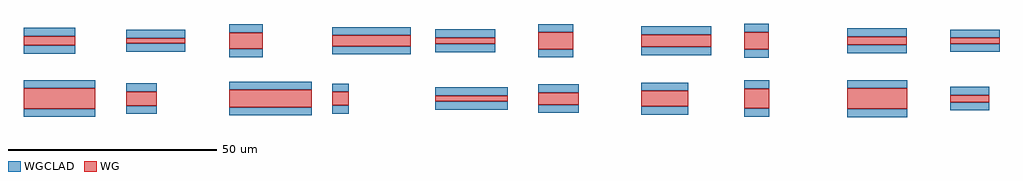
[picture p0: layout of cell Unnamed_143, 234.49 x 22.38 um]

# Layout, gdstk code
import gdstk
lib = gdstk.Library(unit=1e-6, precision=1e-09)
def R(c, l, rs):  # rectangles x0, y0, x1, y1
    for r in rs: c.add(gdstk.rectangle(r[:2], r[2:], *l))
WG = (1, 0)
WGCLAD = (111, 0)

straight_w4012_l8349_lwg = lib.new_cell('straight_W4012_L8349_LWG_EWGSTD')
R(straight_w4012_l8349_lwg, WG, [(0,-2.006,8.349,2.006)])
R(straight_w4012_l8349_lwg, WGCLAD, [(0,-4.006,8.349,-2.006), (0,2.006,8.349,4.006)])

straight_w1470_l14375_lw = lib.new_cell('straight_W1470_L14375_LWG_EWGSTD')
R(straight_w1470_l14375_lw, WG, [(0,-0.735,14.375,0.735)])
R(straight_w1470_l14375_lw, WGCLAD, [(0,-2.735,14.375,-0.735), (0,0.735,14.375,2.735)])

straight_w2598_l18771_lw = lib.new_cell('straight_W2598_L18771_LWG_EWGSTD')
R(straight_w2598_l18771_lw, WG, [(0,-1.299,18.771,1.299)])
R(straight_w2598_l18771_lw, WGCLAD, [(0,-3.299,18.771,-1.299), (0,1.299,18.771,3.299)])

straight_w4844_l17181_lw = lib.new_cell('straight_W4844_L17181_LWG_EWGSTD')
R(straight_w4844_l17181_lw, WG, [(0,-2.422,17.181,2.422)])
R(straight_w4844_l17181_lw, WGCLAD, [(0,-4.422,17.181,-2.422), (0,2.422,17.181,4.422)])

straight_w3388_l7223_lwg = lib.new_cell('straight_W3388_L7223_LWG_EWGSTD')
R(straight_w3388_l7223_lwg, WG, [(0,-1.694,7.223,1.694)])
R(straight_w3388_l7223_lwg, WGCLAD, [(0,-3.694,7.223,-1.694), (0,1.694,7.223,3.694)])

straight_w4124_l19746_lw = lib.new_cell('straight_W4124_L19746_LWG_EWGSTD')
R(straight_w4124_l19746_lw, WG, [(0,-2.062,19.746,2.062)])
R(straight_w4124_l19746_lw, WGCLAD, [(0,-4.062,19.746,-2.062), (0,2.062,19.746,4.062)])

straight_w3182_l3924_lwg = lib.new_cell('straight_W3182_L3924_LWG_EWGSTD')
R(straight_w3182_l3924_lwg, WG, [(0,-1.591,3.924,1.591)])
R(straight_w3182_l3924_lwg, WGCLAD, [(0,-3.591,3.924,-1.591), (0,1.591,3.924,3.591)])

straight_w1362_l17346_lw = lib.new_cell('straight_W1362_L17346_LWG_EWGSTD')
R(straight_w1362_l17346_lw, WG, [(0,-0.681,17.346,0.681)])
R(straight_w1362_l17346_lw, WGCLAD, [(0,-2.681,17.346,-0.681), (0,0.681,17.346,2.681)])

straight_w2904_l9626_lwg = lib.new_cell('straight_W2904_L9626_LWG_EWGSTD')
R(straight_w2904_l9626_lwg, WG, [(0,-1.452,9.626,1.452)])
R(straight_w2904_l9626_lwg, WGCLAD, [(0,-3.452,9.626,-1.452), (0,1.452,9.626,3.452)])

straight_w3704_l11230_lw = lib.new_cell('straight_W3704_L11230_LWG_EWGSTD')
R(straight_w3704_l11230_lw, WG, [(0,-1.852,11.23,1.852)])
R(straight_w3704_l11230_lw, WGCLAD, [(0,-3.852,11.23,-1.852), (0,1.852,11.23,3.852)])

straight_w2918_l16804_lw = lib.new_cell('straight_W2918_L16804_LWG_EWGSTD')
R(straight_w2918_l16804_lw, WG, [(0,-1.459,16.804,1.459)])
R(straight_w2918_l16804_lw, WGCLAD, [(0,-3.459,16.804,-1.459), (0,1.459,16.804,3.459)])

straight_w4766_l5977_lwg = lib.new_cell('straight_W4766_L5977_LWG_EWGSTD')
R(straight_w4766_l5977_lwg, WG, [(0,-2.383,5.977,2.383)])
R(straight_w4766_l5977_lwg, WGCLAD, [(0,-4.383,5.977,-2.383), (0,2.383,5.977,4.383)])

straight_w4086_l5859_lwg = lib.new_cell('straight_W4086_L5859_LWG_EWGSTD')
R(straight_w4086_l5859_lwg, WG, [(0,-2.043,5.859,2.043)])
R(straight_w4086_l5859_lwg, WGCLAD, [(0,-4.043,5.859,-2.043), (0,2.043,5.859,4.043)])

straight_w4890_l14338_lw = lib.new_cell('straight_W4890_L14338_LWG_EWGSTD')
R(straight_w4890_l14338_lw, WG, [(0,-2.445,14.338,2.445)])
R(straight_w4890_l14338_lw, WGCLAD, [(0,-4.445,14.338,-2.445), (0,2.445,14.338,4.445)])

straight_w1944_l14241_lw = lib.new_cell('straight_W1944_L14241_LWG_EWGSTD')
R(straight_w1944_l14241_lw, WG, [(0,-0.972,14.241,0.972)])
R(straight_w1944_l14241_lw, WGCLAD, [(0,-2.972,14.241,-0.972), (0,0.972,14.241,2.972)])

straight_w1650_l9365_lwg = lib.new_cell('straight_W1650_L9365_LWG_EWGSTD')
R(straight_w1650_l9365_lwg, WG, [(0,-0.825,9.365,0.825)])
R(straight_w1650_l9365_lwg, WGCLAD, [(0,-2.825,9.365,-0.825), (0,0.825,9.365,2.825)])

straight_w1332_l11780_lw = lib.new_cell('straight_W1332_L11780_LWG_EWGSTD')
R(straight_w1332_l11780_lw, WG, [(0,-0.666,11.78,0.666)])
R(straight_w1332_l11780_lw, WGCLAD, [(0,-2.666,11.78,-0.666), (0,0.666,11.78,2.666)])

straight_w2240_l12404_lw = lib.new_cell('straight_W2240_L12404_LWG_EWGSTD')
R(straight_w2240_l12404_lw, WG, [(0,-1.12,12.404,1.12)])
R(straight_w2240_l12404_lw, WGCLAD, [(0,-3.12,12.404,-1.12), (0,1.12,12.404,3.12)])

straight_w1196_l14081_lw = lib.new_cell('straight_W1196_L14081_LWG_EWGSTD')
R(straight_w1196_l14081_lw, WG, [(0,-0.598,14.081,0.598)])
R(straight_w1196_l14081_lw, WGCLAD, [(0,-2.598,14.081,-0.598), (0,0.598,14.081,2.598)])

straight_w3822_l8015_lwg = lib.new_cell('straight_W3822_L8015_LWG_EWGSTD')
R(straight_w3822_l8015_lwg, WG, [(0,-1.911,8.015,1.911)])
R(straight_w3822_l8015_lwg, WGCLAD, [(0,-3.911,8.015,-1.911), (0,1.911,8.015,3.911)])

unnamed_143 = lib.new_cell('Unnamed_143')
unnamed_143.add(gdstk.Reference(straight_w4012_l8349_lwg, (136.103,20.835)))
unnamed_143.add(gdstk.Reference(straight_w1470_l14375_lw, (111.357,20.835)))
unnamed_143.add(gdstk.Reference(straight_w2598_l18771_lw, (86.611,20.835)))
unnamed_143.add(gdstk.Reference(straight_w4844_l17181_lw, (12.373,6.945)))
unnamed_143.add(gdstk.Reference(straight_w3388_l7223_lwg, (37.119,6.945)))
unnamed_143.add(gdstk.Reference(straight_w4124_l19746_lw, (61.865,6.945)))
unnamed_143.add(gdstk.Reference(straight_w3182_l3924_lwg, (86.611,6.945)))
unnamed_143.add(gdstk.Reference(straight_w1362_l17346_lw, (111.357,6.945)))
unnamed_143.add(gdstk.Reference(straight_w2904_l9626_lwg, (136.103,6.945)))
unnamed_143.add(gdstk.Reference(straight_w3704_l11230_lw, (160.849,6.945)))
unnamed_143.add(gdstk.Reference(straight_w2918_l16804_lw, (160.849,20.835)))
unnamed_143.add(gdstk.Reference(straight_w4766_l5977_lwg, (185.595,6.945)))
unnamed_143.add(gdstk.Reference(straight_w4086_l5859_lwg, (185.595,20.835)))
unnamed_143.add(gdstk.Reference(straight_w4890_l14338_lw, (210.341,6.945)))
unnamed_143.add(gdstk.Reference(straight_w1944_l14241_lw, (210.341,20.835)))
unnamed_143.add(gdstk.Reference(straight_w1650_l9365_lwg, (235.087,6.945)))
unnamed_143.add(gdstk.Reference(straight_w1332_l11780_lw, (235.087,20.835)))
unnamed_143.add(gdstk.Reference(straight_w2240_l12404_lw, (12.373,20.835)))
unnamed_143.add(gdstk.Reference(straight_w1196_l14081_lw, (37.119,20.835)))
unnamed_143.add(gdstk.Reference(straight_w3822_l8015_lwg, (61.865,20.835)))

lib.write_gds('Unnamed_143.gds')
